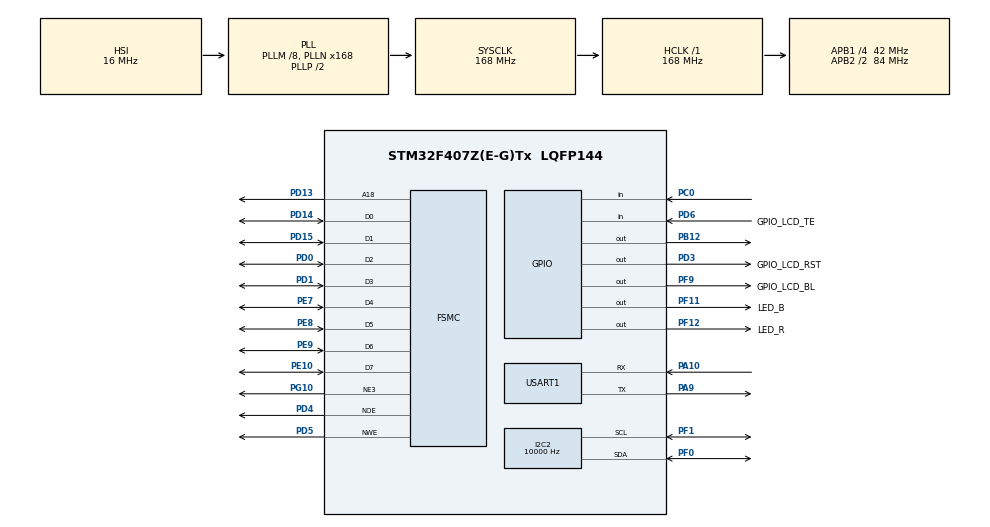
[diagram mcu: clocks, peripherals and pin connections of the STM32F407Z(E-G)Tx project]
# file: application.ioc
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Dma.Request0=USART1_RX
Dma.USART1_RX.0.Direction=DMA_PERIPH_TO_MEMORY
Dma.USART1_RX.0.FIFOMode=DMA_FIFOMODE_DISABLE
Dma.USART1_RX.0.Instance=DMA2_Stream2
Dma.USART1_RX.0.MemDataAlignment=DMA_MDATAALIGN_BYTE
Dma.USART1_RX.0.MemInc=DMA_MINC_ENABLE
Dma.USART1_RX.0.Mode=DMA_NORMAL
Dma.USART1_RX.0.PeriphDataAlignment=DMA_PDATAALIGN_BYTE
Dma.USART1_RX.0.PeriphInc=DMA_PINC_DISABLE
Dma.USART1_RX.0.Priority=DMA_PRIORITY_MEDIUM
FSMC.BusTurnAroundDuration3=0
FSMC.DataSetupTime3=60
FSMC.ExtendedAddressSetupTime3=9
FSMC.ExtendedBusTurnAroundDuration3=0
FSMC.ExtendedDataSetupTime3=8
FSMC.ExtendedMode3=FSMC_EXTENDED_MODE_ENABLE
I2C2.ClockSpeed=10000
Mcu.Family=STM32F4
Mcu.Name=STM32F407Z(E-G)Tx
Mcu.Package=LQFP144
NVIC.DMA2_Stream2_IRQn=true\:0\:0\:false\:false\:true\:false\:true\:true
NVIC.PriorityGroup=NVIC_PRIORITYGROUP_4
NVIC.USART1_IRQn=true\:0\:0\:false\:false\:true\:true\:true\:true
PA10.Mode=Asynchronous
PA10.Signal=USART1_RX
PA13.Mode=Serial_Wire
PA13.Signal=SYS_JTMS-SWDIO
PA14.Mode=Serial_Wire
PA14.Signal=SYS_JTCK-SWCLK
PA9.Mode=Asynchronous
PA9.Signal=USART1_TX
PB12.GPIO_ModeDefaultOutputPP=GPIO_MODE_OUTPUT_PP
PB12.GPIO_Speed=GPIO_SPEED_FREQ_HIGH
PB12.PinState=GPIO_PIN_SET
PB12.Signal=GPIO_Output
PC0.GPIO_PuPd=GPIO_PULLUP
PC0.Signal=GPIO_Input
PC14-OSC32_IN.Mode=LSE-External-Oscillator
PC14-OSC32_IN.Signal=RCC_OSC32_IN
PC15-OSC32_OUT.Mode=LSE-External-Oscillator
PC15-OSC32_OUT.Signal=RCC_OSC32_OUT
PD0.Signal=FSMC_D2_DA2
PD1.Signal=FSMC_D3_DA3
PD13.Signal=FSMC_A18
PD14.Signal=FSMC_D0_DA0
PD15.Signal=FSMC_D1_DA1
PD3.GPIO_Label=GPIO_LCD_RST
PD3.Signal=GPIO_Output
PD4.Signal=FSMC_NOE
PD5.Signal=FSMC_NWE
PD6.GPIO_Label=GPIO_LCD_TE
PD6.Signal=GPIO_Input
PE10.Signal=FSMC_D7_DA7
PE7.Signal=FSMC_D4_DA4
PE8.Signal=FSMC_D5_DA5
PE9.Signal=FSMC_D6_DA6
PF0.Mode=I2C
PF0.Signal=I2C2_SDA
PF1.Mode=I2C
PF1.Signal=I2C2_SCL
PF11.GPIO_Label=LED_B
PF11.Signal=GPIO_Output
PF12.GPIO_Label=LED_R
PF12.Signal=GPIO_Output
PF9.GPIO_Label=GPIO_LCD_BL
PF9.Signal=GPIO_Output
PG10.Mode=NorPsramChipSelect3_3
PG10.Signal=FSMC_NE3
PH0-OSC_IN.Mode=HSE-External-Oscillator
PH0-OSC_IN.Signal=RCC_OSC_IN
PH1-OSC_OUT.Mode=HSE-External-Oscillator
PH1-OSC_OUT.Signal=RCC_OSC_OUT
ProjectManager.HeapSize=0x2000
ProjectManager.StackSize=0x1200
ProjectManager.TargetToolchain=CMake
RCC.48MHZClocksFreq_Value=84000000
RCC.AHBFreq_Value=168000000
RCC.APB1CLKDivider=RCC_HCLK_DIV4
RCC.APB1Freq_Value=42000000
RCC.APB1TimFreq_Value=84000000
RCC.APB2CLKDivider=RCC_HCLK_DIV2
RCC.APB2Freq_Value=84000000
RCC.APB2TimFreq_Value=168000000
RCC.CortexFreq_Value=168000000
RCC.HCLKFreq_Value=168000000
RCC.HSE_VALUE=8000000
RCC.HSI_VALUE=16000000
RCC.PLLM=8
RCC.PLLN=168
RCC.SYSCLKFreq_VALUE=168000000
RCC.SYSCLKSource=RCC_SYSCLKSOURCE_PLLCLK
RCC.VCOOutputFreq_Value=336000000
SH.FSMC_A18.0=FSMC_A18,A18_3
SH.FSMC_D0_DA0.0=FSMC_D0,8b-d3
SH.FSMC_D1_DA1.0=FSMC_D1,8b-d3
SH.FSMC_D2_DA2.0=FSMC_D2,8b-d3
SH.FSMC_D3_DA3.0=FSMC_D3,8b-d3
SH.FSMC_D4_DA4.0=FSMC_D4,8b-d3
SH.FSMC_D5_DA5.0=FSMC_D5,8b-d3
SH.FSMC_D6_DA6.0=FSMC_D6,8b-d3
SH.FSMC_D7_DA7.0=FSMC_D7,8b-d3
SH.FSMC_NOE.0=FSMC_NOE,Lcd3
SH.FSMC_NWE.0=FSMC_NWE,Lcd3
TIM2.AutoReloadPreload=TIM_AUTORELOAD_PRELOAD_ENABLE
TIM2.Period=\ 0xFFFFFFFF
TIM2.Prescaler=83
USART1.VirtualMode=VM_ASYNC
VP_TIM2_VS_ClockSourceINT.Mode=Internal
board=custom

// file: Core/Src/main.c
/* USER CODE BEGIN Header */
/**
 ******************************************************************************
 * @file           : main.c
 * @brief          : Main program body
 ******************************************************************************
 * @attention
 *
 * Copyright (c) 2025 STMicroelectronics.
 * All rights reserved.
 *
 * This software is licensed under terms that can be found in the LICENSE file
 * in the root directory of this software component.
 * If no LICENSE file comes with this software, it is provided AS-IS.
 *
 ******************************************************************************
 */
/* USER CODE END Header */
#include "main.h"

/* USER CODE BEGIN Includes */
#include "lv_api_map.h"
#include "lv_area.h"
#include "lv_disp.h"
#include "lv_label.h"
#include "lv_obj.h"
#include "lv_obj_pos.h"
#include "stm32f407xx.h"
#include "stm32f4xx_hal.h"
#include "stm32f4xx_hal_gpio.h"
#include "stm32f4xx_hal_uart.h"
#include <stdbool.h>
#include <stdint.h>

/* USER CODE END Includes */

I2C_HandleTypeDef hi2c2;

TIM_HandleTypeDef htim2;

UART_HandleTypeDef huart1;
DMA_HandleTypeDef hdma_usart1_rx;

SRAM_HandleTypeDef hsram3;

/* USER CODE BEGIN PV */
uint8_t buf;
int state = 0;
bool dma_flag = false;
uint16_t last_key = 0;

/* USER CODE END PV */

void SystemClock_Config(void);
static void MX_GPIO_Init(void);
static void MX_DMA_Init(void);
static void MX_FSMC_Init(void);
static void MX_I2C2_Init(void);
static void MX_TIM2_Init(void);
static void MX_USART1_UART_Init(void);
/* USER CODE BEGIN PFP */
void HAL_UART_RxCpltCallback(UART_HandleTypeDef *huart) {
  if (huart->Instance != huart1.Instance)
    return;
  int last = state;
  switch (state) {
  case 0:
    if (buf == 'L')
      state = 1;
    break;
  case 1:
    if (buf == 'E')
      state = 2;
    break;
  case 2:
    if (buf == 'D')
      state = 3;
    break;
  case 3:
    if (buf == '_')
      state = 4;
    break;

  case 4:
    if (buf == 'O')
      state = 5;
    break;

  case 5:
    if (buf == 'N')
      state = 6;
    else if (buf == 'F')
      state = 7;
    break;

  case 7:
    if (buf == 'F')
      state = 8;
    break;
  }
  if (last == state)
    state = 0;
  if (state == 8) {
    if (dma_flag)
      HAL_GPIO_WritePin(LED_B_GPIO_Port, LED_B_Pin, GPIO_PIN_SET);
    else
      HAL_GPIO_WritePin(LED_B_GPIO_Port, LED_R_Pin, GPIO_PIN_SET);
  } else if (state == 6) {
    if (dma_flag)
      HAL_GPIO_WritePin(LED_B_GPIO_Port, LED_B_Pin, GPIO_PIN_RESET);
    else
      HAL_GPIO_WritePin(LED_B_GPIO_Port, LED_R_Pin, GPIO_PIN_RESET);
  }
  if (dma_flag)
    HAL_UART_Receive_DMA(&huart1, &buf, 1);
  else
    HAL_UART_Receive_IT(&huart1, &buf, 1);
}
/* USER CODE END PFP */

int main(void) {

  /* MCU Configuration--------------------------------------------------------*/

  /* Reset of all peripherals, Initializes the Flash interface and the Systick.
   */
  HAL_Init();

  /* Configure the system clock */
  SystemClock_Config();

  /* Initialize all configured peripherals */
  MX_GPIO_Init();
  MX_DMA_Init();
  MX_FSMC_Init();
  MX_I2C2_Init();
  MX_TIM2_Init();
  MX_USART1_UART_Init();
  /* USER CODE BEGIN 2 */

  lv_init();

  lv_obj_t *label = lv_label_create(lv_scr_act());
  lv_obj_align(label, LV_ALIGN_CENTER, 0, 0);

  HAL_UART_Receive_IT(&huart1, &buf, 1);
  /* USER CODE END 2 */

  /* Infinite loop */
  /* USER CODE BEGIN WHILE */
  while (1) {

    if (HAL_GPIO_ReadPin(GPIOC, GPIO_PIN_0) == GPIO_PIN_RESET) {
      HAL_Delay(1);
      if (HAL_GPIO_ReadPin(GPIOC, GPIO_PIN_0) == GPIO_PIN_RESET &&
          last_key == GPIO_PIN_SET) {
        dma_flag = !dma_flag;
        last_key = GPIO_PIN_RESET;
      }
    } else {
      last_key = GPIO_PIN_SET;
    }

    if (dma_flag)
      lv_label_set_text_fmt(label, "MODE:DMA");
    else if (!dma_flag)
      lv_label_set_text_fmt(label, "MODE:INT");

    lv_task_handler();

    /* USER CODE END WHILE */

  }
}

void SystemClock_Config(void) {
  RCC_OscInitTypeDef RCC_OscInitStruct = {0};
  RCC_ClkInitTypeDef RCC_ClkInitStruct = {0};

  /** Configure the main internal regulator output voltage
   */
  __HAL_RCC_PWR_CLK_ENABLE();
  __HAL_PWR_VOLTAGESCALING_CONFIG(PWR_REGULATOR_VOLTAGE_SCALE1);

  /** Initializes the RCC Oscillators according to the specified parameters
   * in the RCC_OscInitTypeDef structure.
   */
  RCC_OscInitStruct.OscillatorType = RCC_OSCILLATORTYPE_HSI;
  RCC_OscInitStruct.HSIState = RCC_HSI_ON;
  RCC_OscInitStruct.HSICalibrationValue = RCC_HSICALIBRATION_DEFAULT;
  RCC_OscInitStruct.PLL.PLLState = RCC_PLL_ON;
  RCC_OscInitStruct.PLL.PLLSource = RCC_PLLSOURCE_HSI;
  RCC_OscInitStruct.PLL.PLLM = 8;
  RCC_OscInitStruct.PLL.PLLN = 168;
  RCC_OscInitStruct.PLL.PLLP = RCC_PLLP_DIV2;
  RCC_OscInitStruct.PLL.PLLQ = 4;
  if (HAL_RCC_OscConfig(&RCC_OscInitStruct) != HAL_OK) {
    Error_Handler();
  }

  /** Initializes the CPU, AHB and APB buses clocks
   */
  RCC_ClkInitStruct.ClockType = RCC_CLOCKTYPE_HCLK | RCC_CLOCKTYPE_SYSCLK |
                                RCC_CLOCKTYPE_PCLK1 | RCC_CLOCKTYPE_PCLK2;
  RCC_ClkInitStruct.SYSCLKSource = RCC_SYSCLKSOURCE_PLLCLK;
  RCC_ClkInitStruct.AHBCLKDivider = RCC_SYSCLK_DIV1;
  RCC_ClkInitStruct.APB1CLKDivider = RCC_HCLK_DIV4;
  RCC_ClkInitStruct.APB2CLKDivider = RCC_HCLK_DIV2;

  if (HAL_RCC_ClockConfig(&RCC_ClkInitStruct, FLASH_LATENCY_5) != HAL_OK) {
    Error_Handler();
  }
}

static void MX_I2C2_Init(void) {

  hi2c2.Instance = I2C2;
  hi2c2.Init.ClockSpeed = 10000;
  hi2c2.Init.DutyCycle = I2C_DUTYCYCLE_2;
  hi2c2.Init.OwnAddress1 = 0;
  hi2c2.Init.AddressingMode = I2C_ADDRESSINGMODE_7BIT;
  hi2c2.Init.DualAddressMode = I2C_DUALADDRESS_DISABLE;
  hi2c2.Init.OwnAddress2 = 0;
  hi2c2.Init.GeneralCallMode = I2C_GENERALCALL_DISABLE;
  hi2c2.Init.NoStretchMode = I2C_NOSTRETCH_DISABLE;
  if (HAL_I2C_Init(&hi2c2) != HAL_OK) {
    Error_Handler();
  }
}

static void MX_TIM2_Init(void) {

  TIM_ClockConfigTypeDef sClockSourceConfig = {0};
  TIM_MasterConfigTypeDef sMasterConfig = {0};

  htim2.Instance = TIM2;
  htim2.Init.Prescaler = 83;
  htim2.Init.CounterMode = TIM_COUNTERMODE_UP;
  htim2.Init.Period = 0xFFFFFFFF;
  htim2.Init.ClockDivision = TIM_CLOCKDIVISION_DIV1;
  htim2.Init.AutoReloadPreload = TIM_AUTORELOAD_PRELOAD_ENABLE;
  if (HAL_TIM_Base_Init(&htim2) != HAL_OK) {
    Error_Handler();
  }
  sClockSourceConfig.ClockSource = TIM_CLOCKSOURCE_INTERNAL;
  if (HAL_TIM_ConfigClockSource(&htim2, &sClockSourceConfig) != HAL_OK) {
    Error_Handler();
  }
  sMasterConfig.MasterOutputTrigger = TIM_TRGO_RESET;
  sMasterConfig.MasterSlaveMode = TIM_MASTERSLAVEMODE_DISABLE;
  if (HAL_TIMEx_MasterConfigSynchronization(&htim2, &sMasterConfig) != HAL_OK) {
    Error_Handler();
  }
}

static void MX_USART1_UART_Init(void) {

  huart1.Instance = USART1;
  huart1.Init.BaudRate = 115200;
  huart1.Init.WordLength = UART_WORDLENGTH_8B;
  huart1.Init.StopBits = UART_STOPBITS_1;
  huart1.Init.Parity = UART_PARITY_NONE;
  huart1.Init.Mode = UART_MODE_TX_RX;
  huart1.Init.HwFlowCtl = UART_HWCONTROL_NONE;
  huart1.Init.OverSampling = UART_OVERSAMPLING_16;
  if (HAL_UART_Init(&huart1) != HAL_OK) {
    Error_Handler();
  }
}

static void MX_DMA_Init(void) {

  /* DMA controller clock enable */
  __HAL_RCC_DMA2_CLK_ENABLE();

  /* DMA interrupt init */
  /* DMA2_Stream2_IRQn interrupt configuration */
  HAL_NVIC_SetPriority(DMA2_Stream2_IRQn, 0, 0);
  HAL_NVIC_EnableIRQ(DMA2_Stream2_IRQn);
}

static void MX_GPIO_Init(void) {
  GPIO_InitTypeDef GPIO_InitStruct = {0};

  /* GPIO Ports Clock Enable */
  __HAL_RCC_GPIOC_CLK_ENABLE();
  __HAL_RCC_GPIOF_CLK_ENABLE();
  __HAL_RCC_GPIOH_CLK_ENABLE();
  __HAL_RCC_GPIOE_CLK_ENABLE();
  __HAL_RCC_GPIOB_CLK_ENABLE();
  __HAL_RCC_GPIOD_CLK_ENABLE();
  __HAL_RCC_GPIOA_CLK_ENABLE();
  __HAL_RCC_GPIOG_CLK_ENABLE();

  /*Configure GPIO pin Output Level */
  HAL_GPIO_WritePin(GPIOF, GPIO_LCD_BL_Pin | LED_B_Pin | LED_R_Pin,
                    GPIO_PIN_RESET);

  /*Configure GPIO pin Output Level */
  HAL_GPIO_WritePin(GPIOB, GPIO_PIN_12, GPIO_PIN_SET);

  /*Configure GPIO pin Output Level */
  HAL_GPIO_WritePin(GPIO_LCD_RST_GPIO_Port, GPIO_LCD_RST_Pin, GPIO_PIN_RESET);

  /*Configure GPIO pins : GPIO_LCD_BL_Pin LED_B_Pin LED_R_Pin */
  GPIO_InitStruct.Pin = GPIO_LCD_BL_Pin | LED_B_Pin | LED_R_Pin;
  GPIO_InitStruct.Mode = GPIO_MODE_OUTPUT_PP;
  GPIO_InitStruct.Pull = GPIO_NOPULL;
  GPIO_InitStruct.Speed = GPIO_SPEED_FREQ_LOW;
  HAL_GPIO_Init(GPIOF, &GPIO_InitStruct);

  /*Configure GPIO pin : PC0 */
  GPIO_InitStruct.Pin = GPIO_PIN_0;
  GPIO_InitStruct.Mode = GPIO_MODE_INPUT;
  GPIO_InitStruct.Pull = GPIO_PULLUP;
  HAL_GPIO_Init(GPIOC, &GPIO_InitStruct);

  /*Configure GPIO pin : PB12 */
  GPIO_InitStruct.Pin = GPIO_PIN_12;
  GPIO_InitStruct.Mode = GPIO_MODE_OUTPUT_PP;
  GPIO_InitStruct.Pull = GPIO_NOPULL;
  GPIO_InitStruct.Speed = GPIO_SPEED_FREQ_HIGH;
  HAL_GPIO_Init(GPIOB, &GPIO_InitStruct);

  /*Configure GPIO pin : GPIO_LCD_RST_Pin */
  GPIO_InitStruct.Pin = GPIO_LCD_RST_Pin;
  GPIO_InitStruct.Mode = GPIO_MODE_OUTPUT_PP;
  GPIO_InitStruct.Pull = GPIO_NOPULL;
  GPIO_InitStruct.Speed = GPIO_SPEED_FREQ_LOW;
  HAL_GPIO_Init(GPIO_LCD_RST_GPIO_Port, &GPIO_InitStruct);

  /*Configure GPIO pin : GPIO_LCD_TE_Pin */
  GPIO_InitStruct.Pin = GPIO_LCD_TE_Pin;
  GPIO_InitStruct.Mode = GPIO_MODE_INPUT;
  GPIO_InitStruct.Pull = GPIO_NOPULL;
  HAL_GPIO_Init(GPIO_LCD_TE_GPIO_Port, &GPIO_InitStruct);

}

/* FSMC initialization function */
static void MX_FSMC_Init(void) {

  FSMC_NORSRAM_TimingTypeDef Timing = {0};
  FSMC_NORSRAM_TimingTypeDef ExtTiming = {0};

  /** Perform the SRAM3 memory initialization sequence
   */
  hsram3.Instance = FSMC_NORSRAM_DEVICE;
  hsram3.Extended = FSMC_NORSRAM_EXTENDED_DEVICE;
  /* hsram3.Init */
  hsram3.Init.NSBank = FSMC_NORSRAM_BANK3;
  hsram3.Init.DataAddressMux = FSMC_DATA_ADDRESS_MUX_DISABLE;
  hsram3.Init.MemoryType = FSMC_MEMORY_TYPE_SRAM;
  hsram3.Init.MemoryDataWidth = FSMC_NORSRAM_MEM_BUS_WIDTH_8;
  hsram3.Init.BurstAccessMode = FSMC_BURST_ACCESS_MODE_DISABLE;
  hsram3.Init.WaitSignalPolarity = FSMC_WAIT_SIGNAL_POLARITY_LOW;
  hsram3.Init.WrapMode = FSMC_WRAP_MODE_DISABLE;
  hsram3.Init.WaitSignalActive = FSMC_WAIT_TIMING_BEFORE_WS;
  hsram3.Init.WriteOperation = FSMC_WRITE_OPERATION_ENABLE;
  hsram3.Init.WaitSignal = FSMC_WAIT_SIGNAL_DISABLE;
  hsram3.Init.ExtendedMode = FSMC_EXTENDED_MODE_ENABLE;
  hsram3.Init.AsynchronousWait = FSMC_ASYNCHRONOUS_WAIT_DISABLE;
  hsram3.Init.WriteBurst = FSMC_WRITE_BURST_DISABLE;
  hsram3.Init.PageSize = FSMC_PAGE_SIZE_NONE;
  /* Timing */
  Timing.AddressSetupTime = 15;
  Timing.AddressHoldTime = 15;
  Timing.DataSetupTime = 60;
  Timing.BusTurnAroundDuration = 0;
  Timing.CLKDivision = 16;
  Timing.DataLatency = 17;
  Timing.AccessMode = FSMC_ACCESS_MODE_A;
  /* ExtTiming */
  ExtTiming.AddressSetupTime = 9;
  ExtTiming.AddressHoldTime = 15;
  ExtTiming.DataSetupTime = 8;
  ExtTiming.BusTurnAroundDuration = 0;
  ExtTiming.CLKDivision = 16;
  ExtTiming.DataLatency = 17;
  ExtTiming.AccessMode = FSMC_ACCESS_MODE_A;

  if (HAL_SRAM_Init(&hsram3, &Timing, &ExtTiming) != HAL_OK) {
    Error_Handler();
  }

}

void Error_Handler(void) {
  /* USER CODE BEGIN Error_Handler_Debug */
  /* User can add his own implementation to report the HAL error return state
   */
  __disable_irq();
  while (1) {
  }
  /* USER CODE END Error_Handler_Debug */
}

#ifdef USE_FULL_ASSERT
/**
 * @brief  Reports the name of the source file and the source line number
 *         where the assert_param error has occurred.
 * @param  file: pointer to the source file name
 * @param  line: assert_param error line source number
 * @retval None
 */
void assert_failed(uint8_t *file, uint32_t line) {
  /* USER CODE BEGIN 6 */
  /* User can add his own implementation to report the file name and line
     number, ex: printf("Wrong parameters value: file %s on line %d\r\n",
     file, line) */
  /* USER CODE END 6 */
}
#endif /* USE_FULL_ASSERT */
